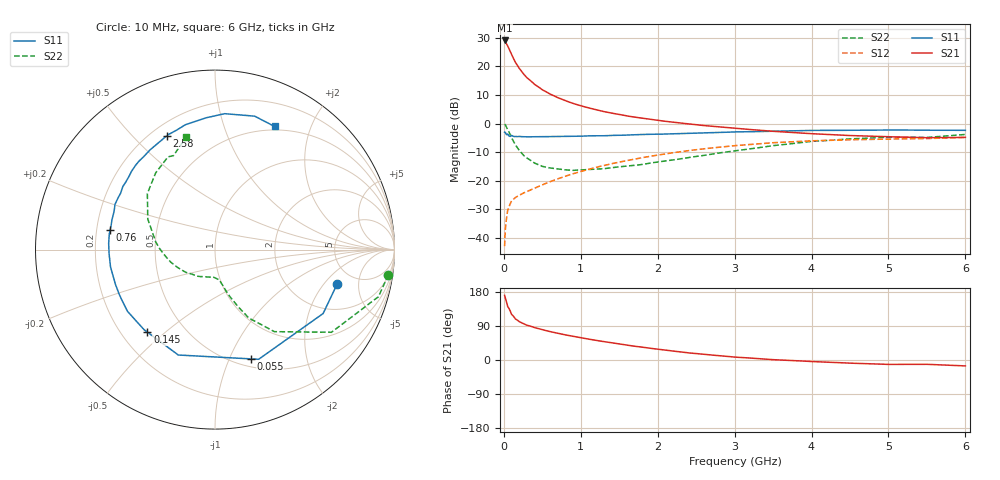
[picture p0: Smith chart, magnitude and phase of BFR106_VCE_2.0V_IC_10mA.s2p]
! Infineon Technologies  Discrete & RF Semiconductors
! BFR106
! VCE =  2.0 V,  IC =  10 mA
! Common Emitter S-Parameters:  Nov 2015
# GHz  S  MA  R  50
!  f  S11  S21  S12  S22
! GHz  MAG  ANG  MAG  ANG  MAG  ANG  MAG  ANG
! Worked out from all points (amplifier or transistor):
!   210 points, 10 MHz to 6 GHz, reference 50 ohm
!   highest |S21| = 29.1 dB at 10 MHz (marker M1)
!   |S21| within 3 dB of that: start of sweep to 68.04 MHz
!   unconditionally stable (mu >= 1): 473.6 MHz to 2.348 GHz; 4.557 GHz to end of sweep
!   at 185 MHz: K = 0.57, MSG = 22.6 dB, |S12| = -25.3 dB
!   at 1.52 GHz: K = 1.10, MAG = 6.3 dB, |S12| = -13.4 dB
!   at 6 GHz: K = 1.02, MAG = -0.9 dB, |S12| = -4.8 dB
!   S11 on the Smith chart (normalised r, x): 10 MHz: 3.65, -2.76; 55 MHz: 0.58, -1.20; 145 MHz: 0.31, -0.44; 760 MHz: 0.26, +0.09; 2.58 GHz: 0.26, +0.63; 6 GHz: 0.46, +1.50
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0.01  0.7076 -15.5  28.37 170.4  0.0072 84.3  0.9765 -8.2
0.02  0.6998 -30.6  27.42 162.6  0.0144 77.0  0.9476 -16.1
0.05  0.6577 -68.3  22.78 141.4  0.0304 61.2  0.7955 -35.4
0.055  0.6402 -71.9  22.01 139.9  0.0317 59.4  0.7696 -36.7
0.1  0.6219 -109.2  16.06 120.6  0.0447 48.5  0.5645 -54.1
0.145  0.5944 -129.3  12.16 110.1  0.0504 44.0  0.4381 -62.5
0.15  0.596 -131.6  11.76 108.5  0.051 43.6  0.4248 -63.7
0.2  0.5967 -144.8  9.259 101.3  0.0558 44.0  0.3404 -68.1
0.24  0.59 -152.1  7.855 97.0  0.0596 44.5  0.294 -70.9
0.3  0.5875 -160.7  6.333 91.8  0.0649 46.6  0.2502 -74.3
0.4  0.5901 -170.6  4.842 85.4  0.0747 50.3  0.2037 -77.8
0.5  0.5905 -177.7  3.903 79.9  0.0849 52.8  0.1787 -80.5
0.6  0.5934 176.7  3.287 74.9  0.0964 55.0  0.1676 -83.4
0.76  0.5941 169.5  2.64 68.0  0.1155 57.0  0.1576 -89.7
1.02  0.6028 158.6  2.013 58.1  0.148 58.5  0.1553 -100.0
1.4  0.6223 145.6  1.522 45.5  0.1986 57.3  0.1696 -117.1
2.02  0.6526 127.5  1.13 28.0  0.2842 51.1  0.2143 -146.9
2.58  0.6893 112.8  0.93 15.4  0.3597 43.2  0.2752 -171.3
3.1  0.7174 101.5  0.807 6.5  0.4205 34.6  0.3463 168.5
4.1  0.7593 84.5  0.656 -4.8  0.5036 18.0  0.4973 137.7
5.1  0.7729 72.3  0.584 -11.6  0.5386 4.4  0.5777 116.3
6  0.7621 64.2  0.574 -15.6  0.5734 -5.4  0.6461 104.5
